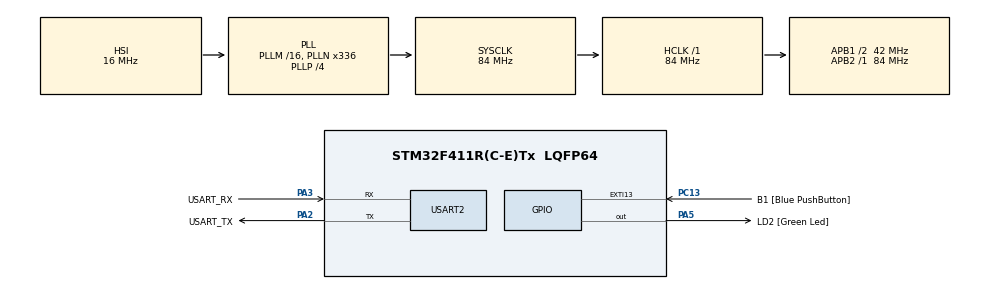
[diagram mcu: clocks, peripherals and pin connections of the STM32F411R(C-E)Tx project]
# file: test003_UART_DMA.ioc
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Dma.Request0=USART2_RX
Dma.USART2_RX.0.Direction=DMA_PERIPH_TO_MEMORY
Dma.USART2_RX.0.FIFOMode=DMA_FIFOMODE_DISABLE
Dma.USART2_RX.0.Instance=DMA1_Stream5
Dma.USART2_RX.0.MemDataAlignment=DMA_MDATAALIGN_BYTE
Dma.USART2_RX.0.MemInc=DMA_MINC_ENABLE
Dma.USART2_RX.0.Mode=DMA_CIRCULAR
Dma.USART2_RX.0.PeriphDataAlignment=DMA_PDATAALIGN_BYTE
Dma.USART2_RX.0.PeriphInc=DMA_PINC_DISABLE
Dma.USART2_RX.0.Priority=DMA_PRIORITY_LOW
Mcu.Family=STM32F4
Mcu.Name=STM32F411R(C-E)Tx
Mcu.Package=LQFP64
NVIC.DMA1_Stream5_IRQn=true\:0\:0\:false\:false\:true\:false\:true\:true
NVIC.PriorityGroup=NVIC_PRIORITYGROUP_0
PA13.GPIO_Label=TMS
PA13.Mode=Serial_Wire
PA13.Signal=SYS_JTMS-SWDIO
PA14.GPIO_Label=TCK
PA14.Mode=Serial_Wire
PA14.Signal=SYS_JTCK-SWCLK
PA2.GPIO_Label=USART_TX
PA2.Mode=Asynchronous
PA2.Signal=USART2_TX
PA3.GPIO_Label=USART_RX
PA3.Mode=Asynchronous
PA3.Signal=USART2_RX
PA5.GPIO_Label=LD2 [Green Led]
PA5.Signal=GPIO_Output
PB3.GPIO_Label=SWO
PB3.Signal=SYS_JTDO-SWO
PC13-ANTI_TAMP.GPIO_Label=B1 [Blue PushButton]
PC13-ANTI_TAMP.GPIO_ModeDefaultEXTI=GPIO_MODE_IT_FALLING
PC13-ANTI_TAMP.Signal=GPXTI13
PC14-OSC32_IN.Mode=LSE-External-Oscillator
PC14-OSC32_IN.Signal=RCC_OSC32_IN
PC15-OSC32_OUT.Mode=LSE-External-Oscillator
PC15-OSC32_OUT.Signal=RCC_OSC32_OUT
PH0\ -\ OSC_IN.Mode=HSE-External-Clock-Source
PH0\ -\ OSC_IN.Signal=RCC_OSC_IN
PH1\ -\ OSC_OUT.Mode=HSE-External-Clock-Source
PH1\ -\ OSC_OUT.Signal=RCC_OSC_OUT
ProjectManager.HeapSize=0x200
ProjectManager.StackSize=0x400
ProjectManager.TargetToolchain=STM32CubeIDE
RCC.48MHZClocksFreq_Value=84000000
RCC.AHBFreq_Value=84000000
RCC.APB1CLKDivider=RCC_HCLK_DIV2
RCC.APB1Freq_Value=42000000
RCC.APB1TimFreq_Value=84000000
RCC.APB2Freq_Value=84000000
RCC.APB2TimFreq_Value=84000000
RCC.CortexFreq_Value=84000000
RCC.FLatency-AdvancedSettings=FLASH_LATENCY_2
RCC.HCLKFreq_Value=84000000
RCC.HSE_VALUE=8000000
RCC.HSI_VALUE=16000000
RCC.PLLN=336
RCC.PLLP=RCC_PLLP_DIV4
RCC.SYSCLKFreq_VALUE=84000000
RCC.SYSCLKSource=RCC_SYSCLKSOURCE_PLLCLK
RCC.VCOOutputFreq_Value=336000000
USART2.VirtualMode=VM_ASYNC
board=NUCLEO-F411RE

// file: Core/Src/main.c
/* USER CODE BEGIN Header */
/**
  ******************************************************************************
  * @file           : main.c
  * @brief          : Main program body
  ******************************************************************************
  * @attention
  *
  * Copyright (c) 2024 STMicroelectronics.
  * All rights reserved.
  *
  * This software is licensed under terms that can be found in the LICENSE file
  * in the root directory of this software component.
  * If no LICENSE file comes with this software, it is provided AS-IS.
  *
  ******************************************************************************
  */
/* USER CODE END Header */
#include "main.h"

UART_HandleTypeDef huart2;
DMA_HandleTypeDef hdma_usart2_rx;

void SystemClock_Config(void);
static void MX_GPIO_Init(void);
static void MX_DMA_Init(void);
static void MX_USART2_UART_Init(void);

/* USER CODE BEGIN 0 */
#define MAX_BUF 100
char Buf[MAX_BUF];
int head = 0, tail = 0;
int getBuffer(char* bb)
{
	int ret = 0;
	tail = MAX_BUF - huart2.hdmarx -> Instance -> NDTR;	//Instance == Object, hdmarx : h(al), dma, rx
	if(head == tail) return 0;
	else if (head < tail) // forward
	{
		memcpy(bb, Buf + head, tail - head);//strncpy : sentence copy
		ret = tail - head;
	}
	else
	{
		memcpy(bb, Buf + head, MAX_BUF - head);	// xxxcpy : target, source, size
		memcpy(bb + MAX_BUF - head, Buf, tail);
		ret = MAX_BUF - head + tail;
	}

	*(bb+ret) = '\0'; 		//bb[ret] = 0;
	head = tail;
	return ret;
}
/* USER CODE END 0 */

int main(void)
{

  /* MCU Configuration--------------------------------------------------------*/

  /* Reset of all peripherals, Initializes the Flash interface and the Systick. */
  HAL_Init();

  /* Configure the system clock */
  SystemClock_Config();

  /* Initialize all configured peripherals */
  MX_GPIO_Init();
  MX_DMA_Init();
  MX_USART2_UART_Init();
  /* USER CODE BEGIN 2 */
  ProgramStart("UART DMA");

  HAL_UART_Receive_DMA(&huart2, Buf, MAX_BUF);

  /* USER CODE END 2 */

  /* Infinite loop */
  /* USER CODE BEGIN WHILE */
  char bb[100];
  while (1)
  {
	  if(getBuffer(bb) > 0)
	  {
		  printf("Received Data : %s\r\n", bb);
		  HAL_Delay(1000);
	  }

    /* USER CODE END WHILE */

  }
}

void SystemClock_Config(void)
{
  RCC_OscInitTypeDef RCC_OscInitStruct = {0};
  RCC_ClkInitTypeDef RCC_ClkInitStruct = {0};

  /** Configure the main internal regulator output voltage
  */
  __HAL_RCC_PWR_CLK_ENABLE();
  __HAL_PWR_VOLTAGESCALING_CONFIG(PWR_REGULATOR_VOLTAGE_SCALE1);

  /** Initializes the RCC Oscillators according to the specified parameters
  * in the RCC_OscInitTypeDef structure.
  */
  RCC_OscInitStruct.OscillatorType = RCC_OSCILLATORTYPE_HSI;
  RCC_OscInitStruct.HSIState = RCC_HSI_ON;
  RCC_OscInitStruct.HSICalibrationValue = RCC_HSICALIBRATION_DEFAULT;
  RCC_OscInitStruct.PLL.PLLState = RCC_PLL_ON;
  RCC_OscInitStruct.PLL.PLLSource = RCC_PLLSOURCE_HSI;
  RCC_OscInitStruct.PLL.PLLM = 16;
  RCC_OscInitStruct.PLL.PLLN = 336;
  RCC_OscInitStruct.PLL.PLLP = RCC_PLLP_DIV4;
  RCC_OscInitStruct.PLL.PLLQ = 4;
  if (HAL_RCC_OscConfig(&RCC_OscInitStruct) != HAL_OK)
  {
    Error_Handler();
  }

  /** Initializes the CPU, AHB and APB buses clocks
  */
  RCC_ClkInitStruct.ClockType = RCC_CLOCKTYPE_HCLK|RCC_CLOCKTYPE_SYSCLK
                              |RCC_CLOCKTYPE_PCLK1|RCC_CLOCKTYPE_PCLK2;
  RCC_ClkInitStruct.SYSCLKSource = RCC_SYSCLKSOURCE_PLLCLK;
  RCC_ClkInitStruct.AHBCLKDivider = RCC_SYSCLK_DIV1;
  RCC_ClkInitStruct.APB1CLKDivider = RCC_HCLK_DIV2;
  RCC_ClkInitStruct.APB2CLKDivider = RCC_HCLK_DIV1;

  if (HAL_RCC_ClockConfig(&RCC_ClkInitStruct, FLASH_LATENCY_2) != HAL_OK)
  {
    Error_Handler();
  }
}

static void MX_USART2_UART_Init(void)
{

  huart2.Instance = USART2;
  huart2.Init.BaudRate = 115200;
  huart2.Init.WordLength = UART_WORDLENGTH_8B;
  huart2.Init.StopBits = UART_STOPBITS_1;
  huart2.Init.Parity = UART_PARITY_NONE;
  huart2.Init.Mode = UART_MODE_TX_RX;
  huart2.Init.HwFlowCtl = UART_HWCONTROL_NONE;
  huart2.Init.OverSampling = UART_OVERSAMPLING_16;
  if (HAL_UART_Init(&huart2) != HAL_OK)
  {
    Error_Handler();
  }

}

static void MX_DMA_Init(void)
{

  /* DMA controller clock enable */
  __HAL_RCC_DMA1_CLK_ENABLE();

  /* DMA interrupt init */
  /* DMA1_Stream5_IRQn interrupt configuration */
  HAL_NVIC_SetPriority(DMA1_Stream5_IRQn, 0, 0);
  HAL_NVIC_EnableIRQ(DMA1_Stream5_IRQn);

}

static void MX_GPIO_Init(void)
{
  GPIO_InitTypeDef GPIO_InitStruct = {0};

  /* GPIO Ports Clock Enable */
  __HAL_RCC_GPIOC_CLK_ENABLE();
  __HAL_RCC_GPIOH_CLK_ENABLE();
  __HAL_RCC_GPIOA_CLK_ENABLE();
  __HAL_RCC_GPIOB_CLK_ENABLE();

  /*Configure GPIO pin Output Level */
  HAL_GPIO_WritePin(LD2_GPIO_Port, LD2_Pin, GPIO_PIN_RESET);

  /*Configure GPIO pin : B1_Pin */
  GPIO_InitStruct.Pin = B1_Pin;
  GPIO_InitStruct.Mode = GPIO_MODE_IT_FALLING;
  GPIO_InitStruct.Pull = GPIO_NOPULL;
  HAL_GPIO_Init(B1_GPIO_Port, &GPIO_InitStruct);

  /*Configure GPIO pin : LD2_Pin */
  GPIO_InitStruct.Pin = LD2_Pin;
  GPIO_InitStruct.Mode = GPIO_MODE_OUTPUT_PP;
  GPIO_InitStruct.Pull = GPIO_NOPULL;
  GPIO_InitStruct.Speed = GPIO_SPEED_FREQ_LOW;
  HAL_GPIO_Init(LD2_GPIO_Port, &GPIO_InitStruct);

}

void Error_Handler(void)
{
  __disable_irq();
  while (1)
  {
  }
}
